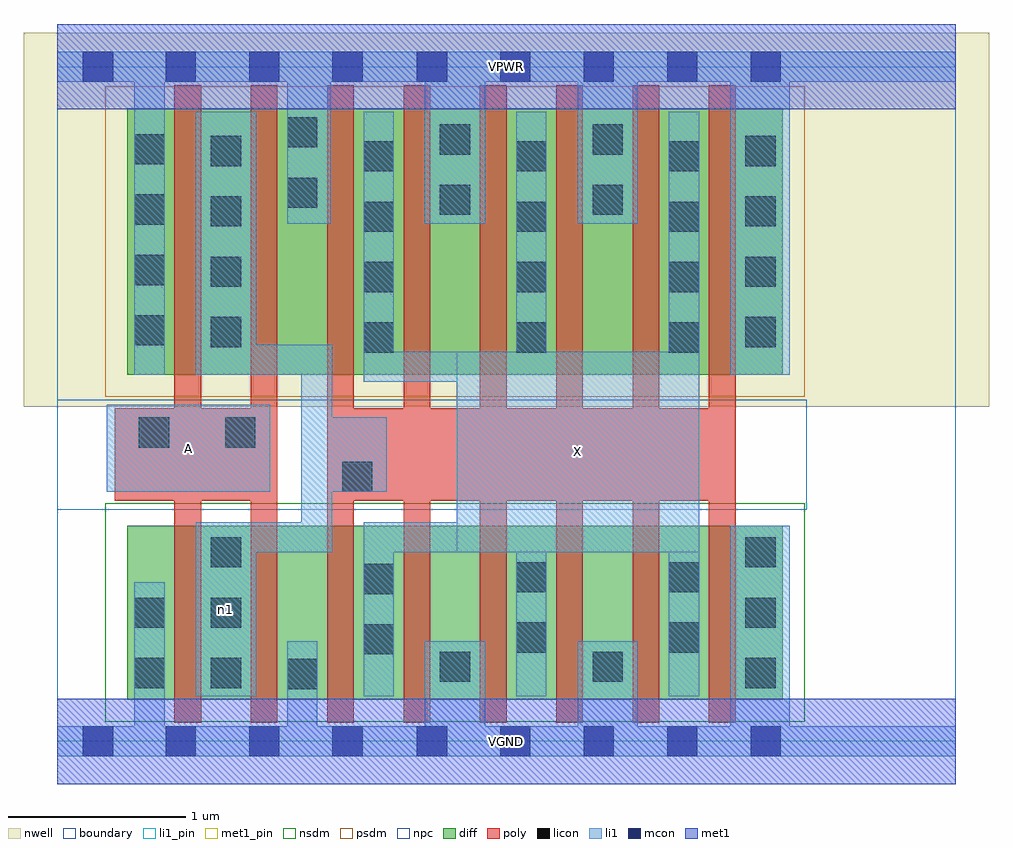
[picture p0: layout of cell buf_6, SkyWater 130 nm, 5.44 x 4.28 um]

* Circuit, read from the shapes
.subckt buf_6 A VGND VPWR X n1
XM1 n1 A VGND VSUBS sky130_fd_pr__nfet_01v8 w=0.98 l=0.15 m=2
XM2 X n1 VGND VSUBS sky130_fd_pr__nfet_01v8 w=0.98 l=0.15 m=6
XM3 n1 A VPWR n2 sky130_fd_pr__pfet_01v8 w=1.5 l=0.15 m=2
XM4 X n1 VPWR n2 sky130_fd_pr__pfet_01v8 w=1.5 l=0.15 m=6
.ends

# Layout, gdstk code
import gdstk
lib = gdstk.Library(unit=1e-6, precision=1e-09)
def R(c, l, rs):  # rectangles x0, y0, x1, y1
    for r in rs: c.add(gdstk.rectangle(r[:2], r[2:], *l))
def A(c, l, x, y, w, h, nx, ny, dx, dy):  # array of equal rectangles
    R(c, l, [(x+i*dx, y+j*dy, x+i*dx+w, y+j*dy+h) for i in range(nx) for j in range(ny)])
nwell = (64, 20)
diff = (65, 20)
poly = (66, 20)
licon = (66, 44)
li1_pin = (67, 16)
li1 = (67, 20)
mcon = (67, 44)
met1_pin = (68, 16)
met1 = (68, 20)
nsdm = (93, 44)
psdm = (94, 20)
npc = (95, 20)
boundary = (235, 4)

buf_6 = lib.new_cell('buf_6')
R(buf_6, nwell, [(-0.19,1.885,5.25,3.99), (0,1.885,5.06,3.99)])
R(buf_6, diff, [(0.395,0.235,4.085,1.215), (0.395,2.065,4.085,3.565)])
A(buf_6, poly, 0.66, 0.105, 0.15, 3.59, 8, 1, 0.43, 0)
R(buf_6, poly, [(0.325,1.355,1.24,1.875), (1.52,1.355,3.82,1.875)])
A(buf_6, licon, 0.865, 0.3, 0.17, 0.17, 1, 3, 0, 0.34)
A(buf_6, licon, 3.875, 0.3, 0.17, 0.17, 1, 3, 0, 0.34)
A(buf_6, licon, 1.725, 2.19, 0.17, 0.17, 3, 4, 0.86, 0.34)
A(buf_6, licon, 0.865, 2.22, 0.17, 0.17, 1, 4, 0, 0.34)
A(buf_6, licon, 3.875, 2.22, 0.17, 0.17, 1, 4, 0, 0.34)
A(buf_6, licon, 0.435, 2.23, 0.17, 0.17, 1, 4, 0, 0.34)
R(buf_6, licon, [(1.295,0.295,1.465,0.465), (0.435,0.3,0.605,0.47), (2.155,0.335,2.325,0.505), (3.015,0.335,3.185,0.505), (1.725,0.49,1.895,0.66), (2.585,0.5,2.755,0.67), (3.445,0.5,3.615,0.67), (0.435,0.64,0.605,0.81), (1.725,0.83,1.895,1), (2.585,0.84,2.755,1.01), (3.445,0.84,3.615,1.01), (1.605,1.405,1.775,1.575), (0.46,1.655,0.63,1.825), (0.945,1.655,1.115,1.825), (2.155,2.965,2.325,3.135), (3.015,2.965,3.185,3.135), (1.295,3.005,1.465,3.175), (2.155,3.305,2.325,3.475), (3.015,3.305,3.185,3.475), (1.295,3.345,1.465,3.515)])
R(buf_6, li1_pin, [(2.25,1.065,3.615,2.195), (0.28,1.405,1.2,1.895)])
R(buf_6, li1, [(0,-0.085,5.06,0.085), (0.435,-0.085,0.605,0.895), (1.295,-0.085,1.465,0.565), (2.07,-0.085,2.41,0.565), (2.93,-0.085,3.27,0.565), (3.79,-0.085,4.125,1.215), (0.78,0.255,1.12,1.235), (1.725,0.255,1.895,1.235), (2.585,0.255,2.755,3.545), (3.445,0.255,3.615,3.545), (0.78,1.065,1.55,1.235), (1.375,1.065,1.55,2.235), (1.725,1.065,3.615,1.235), (2.25,1.065,3.615,2.195), (0.28,1.405,1.2,1.895), (1.375,1.405,1.855,1.825), (1.725,2.025,3.615,2.195), (1.725,2.025,1.895,3.545), (0.435,2.065,0.605,3.885), (0.78,2.065,1.55,2.235), (0.78,2.065,1.12,3.545), (3.79,2.065,4.125,3.885), (1.295,2.915,1.54,3.885), (2.07,2.915,2.41,3.885), (2.93,2.915,3.27,3.885), (0,3.715,5.06,3.885)])
A(buf_6, mcon, 0.61, -0.085, 0.17, 0.17, 3, 2, 0.47, 3.8)
A(buf_6, mcon, 2.025, -0.085, 0.17, 0.17, 5, 2, 0.47, 3.8)
R(buf_6, mcon, [(0.145,-0.085,0.315,0.085), (0.145,3.715,0.315,3.885)])
R(buf_6, met1_pin, [(0,-0.24,5.06,0.24), (0,3.56,5.06,4.04)])
R(buf_6, met1, [(0,-0.24,5.06,0.24), (0,3.56,5.06,4.04)])
R(buf_6, nsdm, [(0.27,0.11,4.21,1.34)])
R(buf_6, psdm, [(0.27,1.94,4.21,3.69)])
R(buf_6, npc, [(0,1.305,4.22,1.925)])
R(buf_6, boundary, [(0,0,5.06,3.8)])
buf_6.add(gdstk.Label('A', (0.74,1.65), layer=67, texttype=5))
buf_6.add(gdstk.Label('X', (2.932,1.63), layer=67, texttype=5))
buf_6.add(gdstk.Label('n1', (0.95,0.745), layer=67, texttype=5))
buf_6.add(gdstk.Label('VPWR', (2.53,3.8), layer=68, texttype=5))
buf_6.add(gdstk.Label('VGND', (2.53,0), layer=68, texttype=5))
buf_6.add(gdstk.Label('A', (0.74,1.65), layer=67, texttype=16))
buf_6.add(gdstk.Label('X', (2.932,1.63), layer=67, texttype=16))
buf_6.add(gdstk.Label('VPWR', (2.53,3.8), layer=68, texttype=16))
buf_6.add(gdstk.Label('VGND', (2.53,0), layer=68, texttype=16))

lib.write_gds('buf_6.gds')
